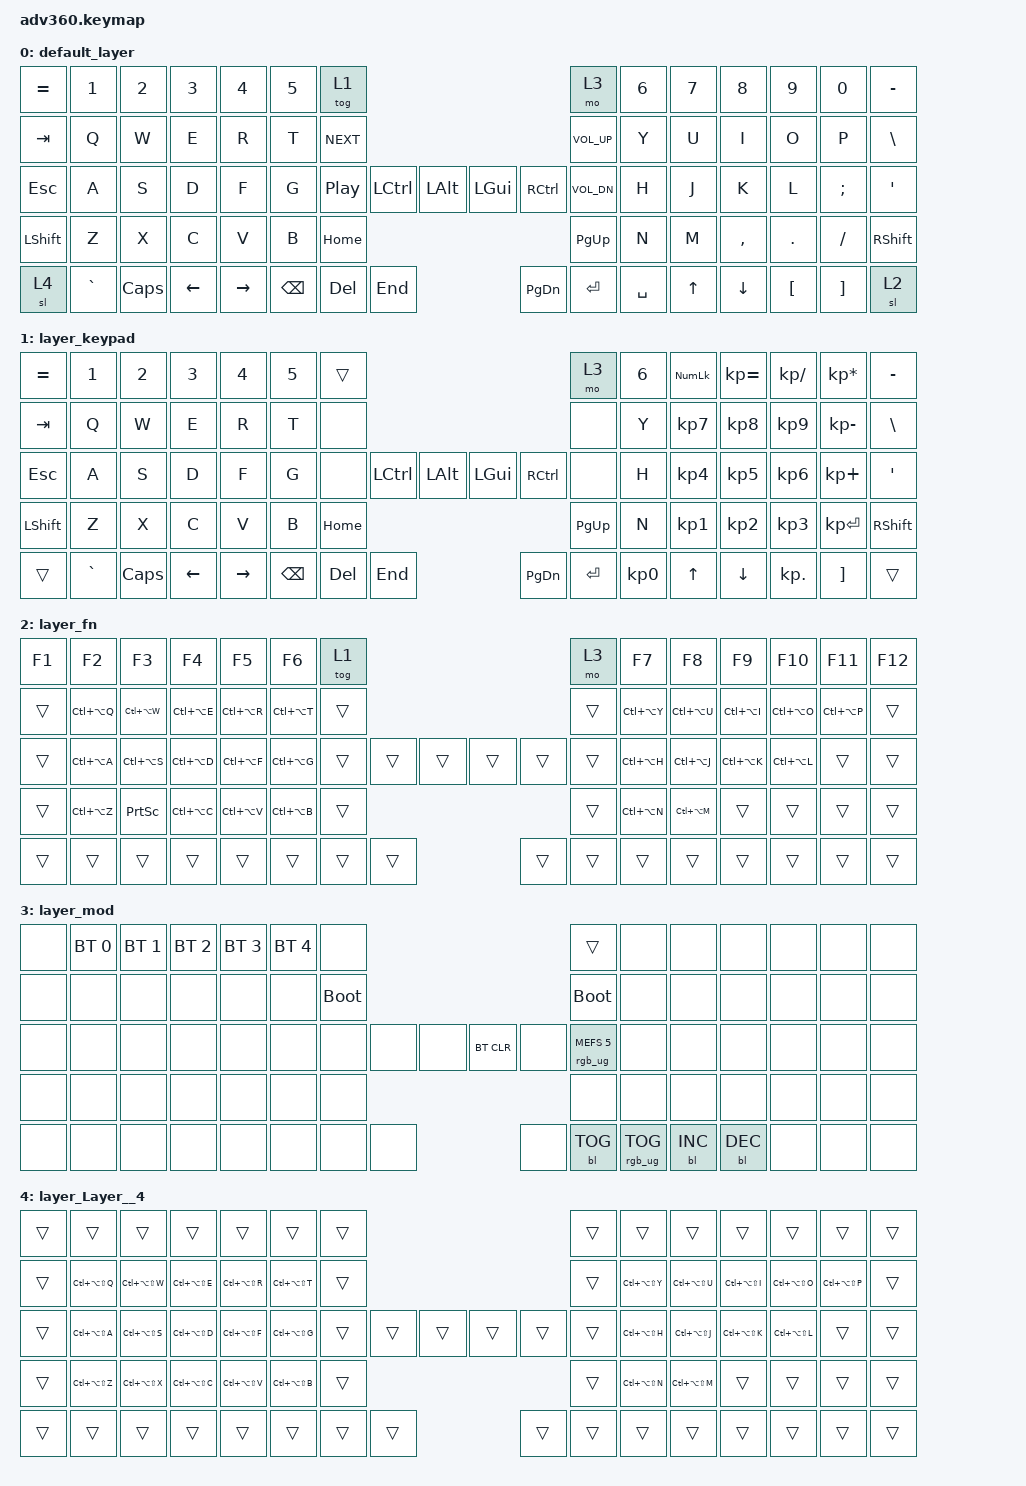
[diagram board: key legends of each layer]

/*
 * Copyright (c) 2020 The ZMK Contributors
 *
 * SPDX-License-Identifier: MIT
 */


/* THIS FILE WAS GENERATED!
 *
 * This file was generated automatically. You may or may not want to
 * edit it directly.
 */

#include <behaviors.dtsi>
#include <dt-bindings/zmk/keys.h>
#include <dt-bindings/zmk/bt.h>
#include <dt-bindings/zmk/rgb.h>
#include <dt-bindings/zmk/backlight.h>

/ {
  behaviors {
    #include "macros.dtsi"
    #include "version.dtsi"

    hm: homerow_mods {
        compatible = "zmk,behavior-hold-tap";
        label = "HOMEROW_MODS";
        #binding-cells = <2>;
        tapping-term-ms = <200>;
        quick_tap_ms = <175>;
        flavor = "tap-preferred";
        bindings = <&kp>, <&kp>;
    };
  };

    keymap {
        compatible = "zmk,keymap";


        default_layer {
            bindings = <
 &kp EQUAL     &kp N1    &kp N2    &kp N3     &kp N4  &kp N5                      &tog 1                                                                       &mo 3  &kp N6  &kp N7     &kp N8    &kp N9    &kp N0  &kp MINUS
   &kp TAB      &kp Q     &kp W     &kp E      &kp R   &kp T                  &kp C_NEXT                                                             &kp C_VOLUME_UP   &kp Y   &kp U      &kp I     &kp O     &kp P   &kp BSLH
   &kp ESC      &kp A     &kp S     &kp D      &kp F   &kp G            &kp C_PLAY_PAUSE  &kp LCTRL  &kp LALT                   &kp LGUI  &kp RCTRL     &kp C_VOL_DN   &kp H   &kp J      &kp K     &kp L  &kp SEMI    &kp SQT
 &kp LSHFT      &kp Z     &kp X     &kp C      &kp V   &kp B                                         &kp HOME                  &kp PG_UP                               &kp N   &kp M  &kp COMMA   &kp DOT  &kp FSLH  &kp RSHFT
     &sl 4  &kp GRAVE  &kp CAPS  &kp LEFT  &kp RIGHT                            &kp BSPC    &kp DEL   &kp END                  &kp PG_DN  &kp ENTER        &kp SPACE          &kp UP   &kp DOWN  &kp LBKT  &kp RBKT      &sl 2
            >;
        };

        layer_keypad {
            bindings = <
 &kp EQUAL     &kp N1    &kp N2    &kp N3     &kp N4  &kp N5              &trans                                                                 &mo 3  &kp N6  &kp KP_NUM  &kp KP_EQUAL  &kp KP_DIVIDE  &kp KP_MULTIPLY  &kp MINUS
   &kp TAB      &kp Q     &kp W     &kp E      &kp R   &kp T               &none                                                                 &none   &kp Y   &kp KP_N7     &kp KP_N8      &kp KP_N9     &kp KP_MINUS   &kp BSLH
   &kp ESC      &kp A     &kp S     &kp D      &kp F   &kp G               &none  &kp LCTRL  &kp LALT                   &kp LGUI  &kp RCTRL      &none   &kp H   &kp KP_N4     &kp KP_N5      &kp KP_N6      &kp KP_PLUS    &kp SQT
 &kp LSHFT      &kp Z     &kp X     &kp C      &kp V   &kp B                                 &kp HOME                  &kp PG_UP                         &kp N   &kp KP_N1     &kp KP_N2      &kp KP_N3     &kp KP_ENTER  &kp RSHFT
    &trans  &kp GRAVE  &kp CAPS  &kp LEFT  &kp RIGHT                    &kp BSPC    &kp DEL   &kp END                  &kp PG_DN  &kp ENTER  &kp KP_N0              &kp UP      &kp DOWN     &kp KP_DOT         &kp RBKT     &trans
            >;
        };

        layer_fn {
            bindings = <
 &kp F1         &kp F2           &kp F3         &kp F4         &kp F5         &kp F6            &tog 1                                                   &mo 3         &kp F7         &kp F8         &kp F9        &kp F10        &kp F11  &kp F12
 &trans  &kp LC(LA(Q))    &kp LC(LA(W))  &kp LC(LA(E))  &kp LC(LA(R))  &kp LC(LA(T))            &trans                                                  &trans  &kp LC(LA(Y))  &kp LC(LA(U))  &kp LC(LA(I))  &kp LC(LA(O))  &kp LC(LA(P))   &trans
 &trans  &kp LC(LA(A))    &kp LC(LA(S))  &kp LC(LA(D))  &kp LC(LA(F))  &kp LC(LA(G))            &trans  &trans  &trans                  &trans  &trans  &trans  &kp LC(LA(H))  &kp LC(LA(J))  &kp LC(LA(K))  &kp LC(LA(L))         &trans   &trans
 &trans  &kp LC(LA(Z))  &kp PRINTSCREEN  &kp LC(LA(C))  &kp LC(LA(V))  &kp LC(LA(B))                            &trans                  &trans                  &kp LC(LA(N))  &kp LC(LA(M))         &trans         &trans         &trans   &trans
 &trans         &trans           &trans         &trans         &trans                           &trans  &trans  &trans                  &trans  &trans  &trans                        &trans         &trans         &trans         &trans   &trans
            >;
        };

        layer_mod {
            bindings = <
  &none  &bt BT_SEL 0  &bt BT_SEL 1  &bt BT_SEL 2  &bt BT_SEL 3  &bt BT_SEL 4                  &none                                                                          &trans   &none       &none       &none   &none   &none   &none
  &none         &none         &none         &none         &none         &none            &bootloader                                                                     &bootloader   &none       &none       &none   &none   &none   &none
  &none         &none         &none         &none         &none         &none                  &none   &none   &none                  &bt BT_CLR       &none  &rgb_ug RGB_MEFS_CMD 5   &none       &none       &none   &none   &none   &none
  &none         &none         &none         &none         &none         &none                                  &none                       &none                                       &none       &none       &none   &none   &none   &none
  &none         &none         &none         &none         &none                                &none   &none   &none                       &none  &bl BL_TOG         &rgb_ug RGB_TOG          &bl BL_INC  &bl BL_DEC   &none   &none   &none
            >;
        };

        layer_Layer__4 {
            bindings = <
 &trans             &trans             &trans             &trans             &trans             &trans            &trans                                                  &trans             &trans             &trans             &trans             &trans             &trans  &trans
 &trans  &kp LC(LA(LS(Q)))  &kp LC(LA(LS(W)))  &kp LC(LA(LS(E)))  &kp LC(LA(LS(R)))  &kp LC(LA(LS(T)))            &trans                                                  &trans  &kp LC(LA(LS(Y)))  &kp LC(LA(LS(U)))  &kp LC(LA(LS(I)))  &kp LC(LA(LS(O)))  &kp LC(LA(LS(P)))  &trans
 &trans  &kp LC(LA(LS(A)))  &kp LC(LA(LS(S)))  &kp LC(LA(LS(D)))  &kp LC(LA(LS(F)))  &kp LC(LA(LS(G)))            &trans  &trans  &trans                  &trans  &trans  &trans  &kp LC(LA(LS(H)))  &kp LC(LA(LS(J)))  &kp LC(LA(LS(K)))  &kp LC(LA(LS(L)))             &trans  &trans
 &trans  &kp LC(LA(LS(Z)))  &kp LC(LA(LS(X)))  &kp LC(LA(LS(C)))  &kp LC(LA(LS(V)))  &kp LC(LA(LS(B)))                            &trans                  &trans                  &kp LC(LA(LS(N)))  &kp LC(LA(LS(M)))             &trans             &trans             &trans  &trans
 &trans             &trans             &trans             &trans             &trans                               &trans  &trans  &trans                  &trans  &trans  &trans                                &trans             &trans             &trans             &trans  &trans
            >;
        };

    };
};
